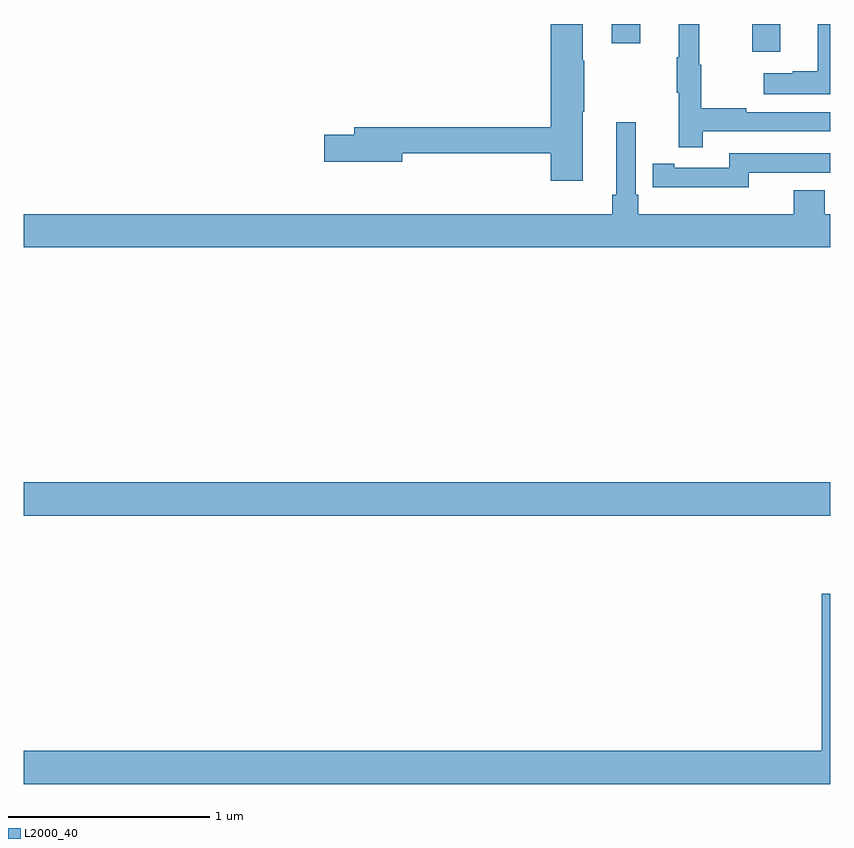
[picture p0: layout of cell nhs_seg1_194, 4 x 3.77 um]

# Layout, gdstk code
import gdstk
lib = gdstk.Library(unit=1e-6, precision=1e-09)
def R(c, l, rs):  # rectangles x0, y0, x1, y1
    for r in rs: c.add(gdstk.rectangle(r[:2], r[2:], *l))
def P(c, l, *ps):  # polygons
    for p in ps: c.add(gdstk.Polygon(p, *l))
L2000_40 = (2000, 40)

nhs_seg1_194 = lib.new_cell('nhs_seg1_194')
R(nhs_seg1_194, L2000_40, [(121,523.76,125,523.924), (124.613,526.062,124.753,526.199), (123.917,526.104,124.057,526.199)])
P(nhs_seg1_194, L2000_40, [(123.772,525.763),(123.78,525.763),(123.78,526.016),(123.772,526.016),(123.772,526.199),(123.614,526.199),(123.614,525.686),(122.639,525.686),(122.639,525.65),(122.49,525.65),(122.49,525.515),(122.878,525.515),(122.878,525.558),(123.614,525.558),(123.614,525.42),(123.772,525.42)],
  [(124.367,525.666),(125,525.666),(125,525.762),(124.583,525.762),(124.583,525.782),(124.36,525.782),(124.36,525.996),(124.352,525.996),(124.352,526.199),(124.25,526.199),(124.25,526.033),(124.239,526.033),(124.239,525.859),(124.25,525.859),(124.25,525.588),(124.367,525.588)],
  [(125,526.199),(124.94,526.199),(124.94,525.965),(124.814,525.965),(124.814,525.955),(124.671,525.955),(124.671,525.851),(125,525.851)],
  [(125,525.256),(124.973,525.256),(124.973,525.373),(124.82,525.373),(124.82,525.256),(124.049,525.256),(124.049,525.352),(124.035,525.352),(124.035,525.712),(123.938,525.712),(123.938,525.352),(123.919,525.352),(123.919,525.256),(121,525.256),(121,525.092),(125,525.092)],
  [(124.596,525.462),(125,525.462),(125,525.558),(124.5,525.558),(124.5,525.486),(124.228,525.486),(124.228,525.506),(124.12,525.506),(124.12,525.39),(124.228,525.39),(124.228,525.389),(124.596,525.389)],
  [(125,523.371),(124.958,523.371),(124.958,522.592),(121,522.592),(121,522.428),(125,522.428)])

lib.write_gds('nhs_seg1_194.gds')
